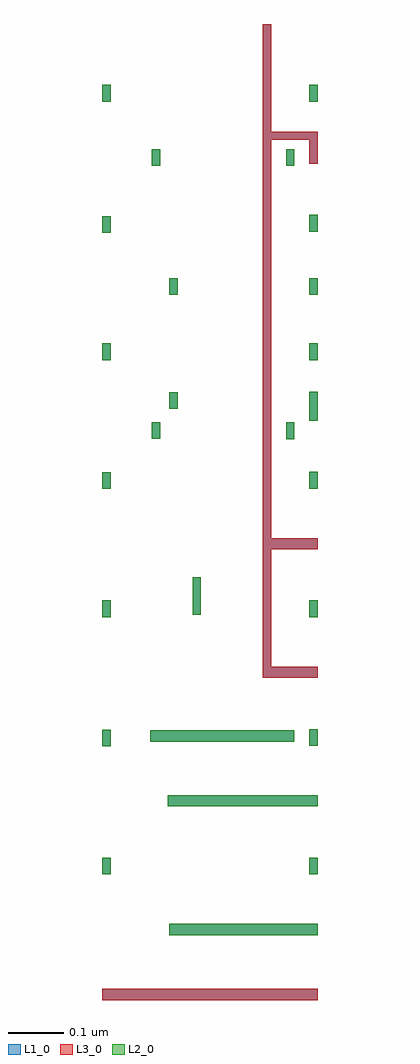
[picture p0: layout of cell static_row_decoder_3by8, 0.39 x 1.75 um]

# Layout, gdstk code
import gdstk
lib = gdstk.Library(unit=1e-6, precision=5e-10)
def R(c, l, rs):  # rectangles x0, y0, x1, y1
    for r in rs: c.add(gdstk.rectangle(r[:2], r[2:], *l))
def A(c, l, x, y, w, h, nx, ny, dx, dy):  # array of equal rectangles
    R(c, l, [(x+i*dx, y+j*dy, x+i*dx+w, y+j*dy+h) for i in range(nx) for j in range(ny)])
def P(c, l, *ps):  # polygons
    for p in ps: c.add(gdstk.Polygon(p, *l))
L1_0 = (1, 0)
L2_0 = (2, 0)
L3_0 = (3, 0)

static_row_decoder_3by8 = lib.new_cell('static_row_decoder_3by8')
A(static_row_decoder_3by8, L1_0, 0.547, -1.182, 0.015, 0.03, 1, 5, 0, 0.231)
R(static_row_decoder_3by8, L1_0, [(0.175,-1.408,0.562,-1.388), (0.295,-1.2915,0.562,-1.271), (0.175,-1.182,0.19,-1.152), (0.2925,-1.06,0.562,-1.04), (0.1745,-0.952,0.1895,-0.922), (0.261,-0.9435,0.52,-0.923), (0.1745,-0.72,0.1895,-0.69), (0.337,-0.716,0.352,-0.6485), (0.1745,-0.4895,0.1895,-0.4595), (0.505,-0.4,0.52,-0.37), (0.2635,-0.3995,0.2785,-0.3695), (0.547,-0.367,0.562,-0.315), (0.295,-0.3455,0.31,-0.3155), (0.1745,-0.258,0.1895,-0.228), (0.295,-0.1405,0.31,-0.1105), (0.547,-0.1405,0.562,-0.1105), (0.1745,-0.0295,0.1895,0.0005), (0.547,-0.027,0.562,0.003), (0.2635,0.091,0.2785,0.121), (0.505,0.091,0.52,0.121), (0.175,0.2065,0.19,0.2365), (0.547,0.2065,0.562,0.2365)])
P(static_row_decoder_3by8, L1_0, [(0.478,0.346),(0.478,0.152),(0.562,0.152),(0.562,0.095),(0.547,0.095),(0.547,0.138),(0.478,0.138),(0.478,-0.578),(0.562,-0.578),(0.562,-0.598),(0.478,-0.598),(0.478,-0.809),(0.562,-0.809),(0.562,-0.829),(0.463,-0.829),(0.463,0.346)])
A(static_row_decoder_3by8, L2_0, 0.547, -1.182, 0.015, 0.03, 1, 5, 0, 0.231)
R(static_row_decoder_3by8, L2_0, [(0.295,-1.2915,0.562,-1.271), (0.175,-1.182,0.19,-1.152), (0.2925,-1.06,0.562,-1.04), (0.1745,-0.952,0.1895,-0.922), (0.261,-0.9435,0.52,-0.923), (0.1745,-0.72,0.1895,-0.69), (0.337,-0.716,0.352,-0.6485), (0.1745,-0.4895,0.1895,-0.4595), (0.505,-0.4,0.52,-0.37), (0.2635,-0.3995,0.2785,-0.3695), (0.547,-0.367,0.562,-0.315), (0.295,-0.3455,0.31,-0.3155), (0.1745,-0.258,0.1895,-0.228), (0.295,-0.1405,0.31,-0.1105), (0.547,-0.1405,0.562,-0.1105), (0.1745,-0.0295,0.1895,0.0005), (0.547,-0.027,0.562,0.003), (0.2635,0.091,0.2785,0.121), (0.505,0.091,0.52,0.121), (0.175,0.2065,0.19,0.2365), (0.547,0.2065,0.562,0.2365)])
R(static_row_decoder_3by8, L3_0, [(0.175,-1.408,0.562,-1.388)])
P(static_row_decoder_3by8, L3_0, [(0.478,0.346),(0.478,0.152),(0.562,0.152),(0.562,0.095),(0.547,0.095),(0.547,0.138),(0.478,0.138),(0.478,-0.578),(0.562,-0.578),(0.562,-0.598),(0.478,-0.598),(0.478,-0.809),(0.562,-0.809),(0.562,-0.829),(0.463,-0.829),(0.463,0.346)])

lib.write_gds('static_row_decoder_3by8.gds')
